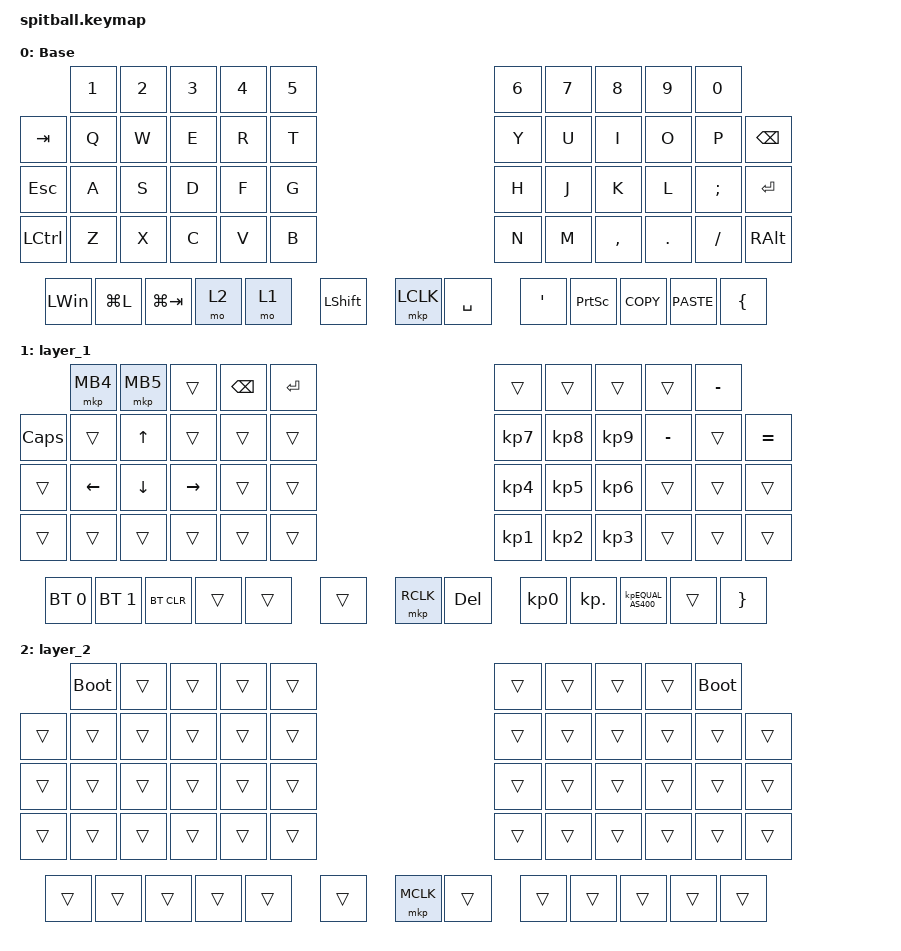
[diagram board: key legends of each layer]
#include <dt-bindings/zmk/input_transform.h>
#include <input/processors.dtsi>
#include <behaviors.dtsi>
#include <dt-bindings/zmk/bt.h>
#include <dt-bindings/zmk/keys.h>
#include <dt-bindings/zmk/pointing.h>

/ {
    keymap {
        compatible = "zmk,keymap";

        default_layer {
            display-name = "Base";
            bindings = <
              &kp NUMBER_1  &kp NUMBER_2     &kp NUMBER_3  &kp NUMBER_4   &kp N5
&kp TAB       &kp Q         &kp W            &kp E         &kp R          &kp T
&kp ESCAPE    &kp A         &kp S            &kp D         &kp F          &kp G
&kp LCTRL     &kp Z         &kp X            &kp C         &kp V          &kp B
&kp LEFT_WIN  &kp LG(L)     &kp LG(TAB)      &mo 2         &mo 1          &kp LEFT_SHIFT
&kp NUMBER_6  &kp N7        &kp N8           &kp N9        &kp N0
&kp Y         &kp U         &kp I            &kp O         &kp P          &kp BACKSPACE
&kp H         &kp J         &kp K            &kp L         &kp SEMICOLON  &kp ENTER
&kp N         &kp M         &kp COMMA        &kp PERIOD    &kp SLASH      &kp RIGHT_ALT
&kp SPACE     &kp SQT       &kp PRINTSCREEN  &kp K_COPY    &kp K_PASTE    &kp LEFT_BRACE
&mkp LCLK
            >;
        };

        layer_1 {
            bindings = <
                 &mkp MB4         &mkp MB5         &trans              &kp BACKSPACE  &kp ENTER
&kp CAPSLOCK     &trans           &kp UP_ARROW     &trans              &trans         &trans
&trans           &kp LEFT         &kp DOWN_ARROW   &kp RIGHT           &trans         &trans
&trans           &trans           &trans           &trans              &trans         &trans
&bt BT_SEL 0     &bt BT_SEL 1     &bt BT_CLR       &trans              &trans         &trans
&trans           &trans           &trans           &trans              &kp MINUS
&kp KP_NUMBER_7  &kp KP_NUMBER_8  &kp KP_NUMBER_9  &kp MINUS           &trans         &kp EQUAL
&kp KP_NUMBER_4  &kp KP_NUMBER_5  &kp KP_NUMBER_6  &trans              &trans         &trans
&kp KP_NUMBER_1  &kp KP_NUMBER_2  &kp KP_NUMBER_3  &trans              &trans         &trans
&kp DEL          &kp KP_NUMBER_0  &kp KP_DOT       &kp KP_EQUAL_AS400  &trans         &kp RIGHT_BRACE
&mkp RCLK
            >;
        };

        layer_2 {
            bindings = <
           &bootloader  &trans  &trans  &trans       &trans
&trans     &trans       &trans  &trans  &trans       &trans
&trans     &trans       &trans  &trans  &trans       &trans
&trans     &trans       &trans  &trans  &trans       &trans
&trans     &trans       &trans  &trans  &trans       &trans
&trans     &trans       &trans  &trans  &bootloader
&trans     &trans       &trans  &trans  &trans       &trans
&trans     &trans       &trans  &trans  &trans       &trans
&trans     &trans       &trans  &trans  &trans       &trans
&trans     &trans       &trans  &trans  &trans       &trans
&mkp MCLK
            >;
        };
    };
};

/*
 * PMW3610 SCROLL MODE
 *
 * Normal:
 *   Trackball = cursor
 *
 * Hold FN2 / Layer 2:
 *   Trackball = scroll
 *
 * Scroll speed:
 *   1/6
 *
 * Vertical scroll:
 *   Inverted
 *
 * Horizontal scroll:
 *   Normal
 *
 * Layer 2 bootloader:
 *   Left 1 = Left half bootloader
 *   Right 0 = Right half bootloader
 */

&input_listener_right0 {
    scroller {
        layers = <2>;
        input-processors = <
            &zip_xy_to_scroll_mapper
            &zip_scroll_transform INPUT_TRANSFORM_Y_INVERT
            &zip_scroll_scaler 1 6
        >;
    };
};
